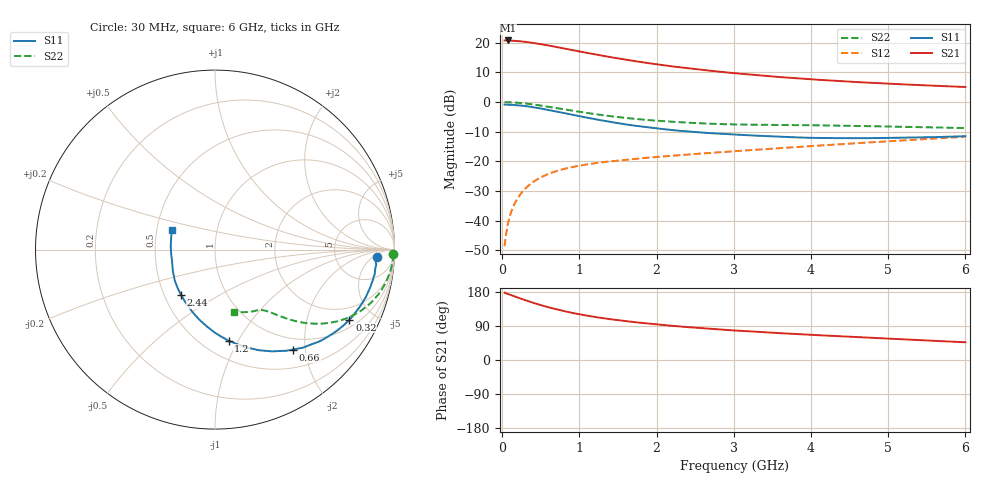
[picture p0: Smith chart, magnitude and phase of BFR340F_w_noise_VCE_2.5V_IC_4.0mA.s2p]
! Infineon Technologies  Discrete & RF Semiconductors
! BFR340F
! VCE =  2.5 V,  IC =  4.0 mA
! Common Emitter S-Parameters:  Nov 2015
# GHz  S  MA  R  50
!  f  S11  S21  S12  S22
! GHz  MAG  ANG  MAG  ANG  MAG  ANG  MAG  ANG
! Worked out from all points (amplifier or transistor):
!   206 points, 30 MHz to 6 GHz, reference 50 ohm
!   highest |S21| = 20.7 dB at 70 MHz (marker M1)
!   |S21| within 3 dB of that: start of sweep to 858 MHz
!   unconditionally stable (mu >= 1): 3.441 GHz to end of sweep
!   at 200 MHz: K = 0.10, MSG = 26.5 dB, |S12| = -32.4 dB
!   at 1.56 GHz: K = 0.69, MSG = 17.0 dB, |S12| = -19.6 dB
!   at 6 GHz: K = 1.01, MAG = 7.7 dB, |S12| = -11.7 dB
!   lowest NFmin = 1.00 dB at 900 MHz
!   S11 on the Smith chart (normalised r, x): 30 MHz: 16, -7; 320 MHz: 1.34, -3.63; 660 MHz: 0.80, -1.77; 1.2 GHz: 0.66, -0.91; 2.44 GHz: 0.61, -0.34; 6 GHz: 0.60, +0.14
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0.03  0.9023 -2.6  10.88 177.8  0.0037 88.4  0.9932 -1.5
0.05  0.8979 -4.4  10.82 175.5  0.0059 88.9  0.9919 -2.7
0.07  0.8995 -6.4  10.89 174.2  0.0086 87.5  0.9917 -3.7
0.08  0.899 -7.0  10.84 173.9  0.0097 86.3  0.9907 -4.3
0.14  0.8926 -12.4  10.79 169.4  0.0169 83.2  0.9825 -7.5
0.2  0.8807 -17.6  10.65 164.9  0.0239 80.2  0.9705 -10.6
0.32  0.8443 -27.5  10.23 156.4  0.0368 74.9  0.9361 -16.4
0.4  0.8154 -33.8  9.898 151.0  0.0447 71.9  0.9082 -19.9
0.48  0.7832 -39.7  9.526 146.0  0.0519 69.0  0.8776 -23.1
0.6  0.7332 -48.2  8.953 138.9  0.0614 65.3  0.8296 -27.4
0.66  0.7064 -52.0  8.649 135.9  0.0655 63.7  0.8055 -29.2
0.8  0.6503 -60.7  7.975 128.9  0.0743 60.6  0.7514 -33.0
1.04  0.562 -73.6  6.947 119.2  0.0861 56.9  0.67 -37.9
1.2  0.5131 -81.5  6.349 113.5  0.0927 55.2  0.6235 -40.4
1.4  0.4618 -90.3  5.701 107.6  0.0998 53.9  0.5755 -42.8
1.58  0.4222 -97.7  5.211 102.9  0.1056 53.4  0.5409 -44.5
2.02  0.3558 -113.3  4.283 93.5  0.1187 53.0  0.4811 -47.6
2.44  0.3153 -127.0  3.659 86.2  0.1309 53.7  0.4449 -50.2
3.1  0.2783 -144.4  2.984 76.9  0.1505 54.9  0.4157 -54.1
4.1  0.2471 -165.7  2.364 65.4  0.1836 56.8  0.4038 -58.5
5.1  0.2481 173.1  2.007 55.3  0.2211 57.5  0.3834 -65.4
6  0.2649 155.0  1.788 46.8  0.2596 57.1  0.3632 -72.9
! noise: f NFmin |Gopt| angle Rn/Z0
0.45  1.01  0.55  3  0.35
0.9  1  0.53  12  0.38
1.9  1.26  0.4  21  0.34
2.4  1.35  0.37  30  0.33
